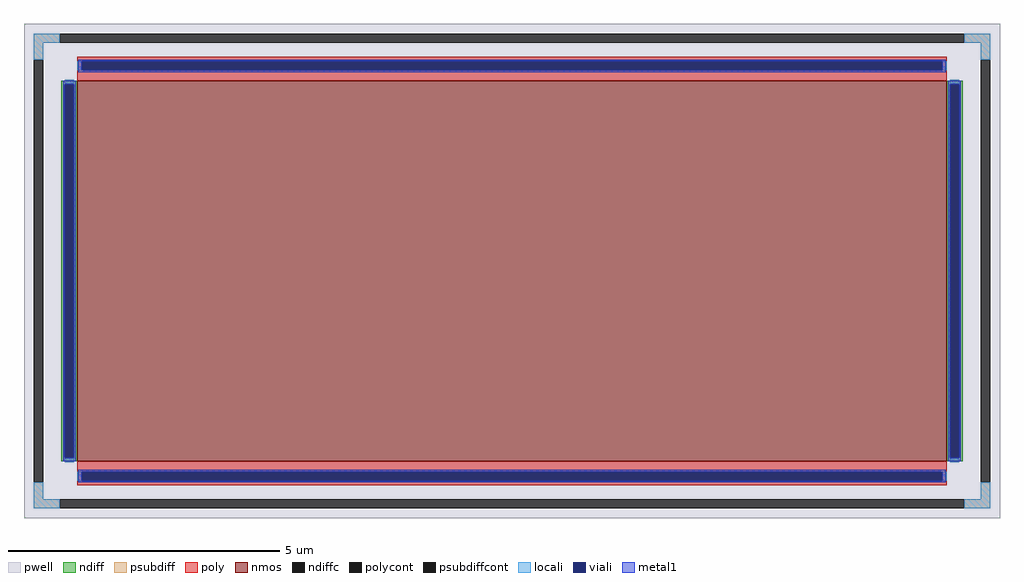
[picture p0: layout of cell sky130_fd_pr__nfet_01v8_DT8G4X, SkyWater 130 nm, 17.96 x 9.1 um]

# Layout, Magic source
magic
tech sky130A
<< pwell >>
rect -898 -455 898 455
<< nmos >>
rect -800 -350 800 350
<< ndiff >>
rect -829 344 -800 350
rect -829 -344 -823 344
rect -806 -344 -800 344
rect -829 -350 -800 -344
rect 800 344 829 350
rect 800 -344 806 344
rect 823 -344 829 344
rect 800 -350 829 -344
<< ndiffc >>
rect -823 -344 -806 344
rect 806 -344 823 344
<< psubdiff >>
rect -880 420 -832 437
rect 832 420 880 437
rect -880 389 -863 420
rect 863 389 880 420
rect -880 -420 -863 -389
rect 863 -420 880 -389
rect -880 -437 -832 -420
rect 832 -437 880 -420
<< psubdiffcont >>
rect -832 420 832 437
rect -880 -389 -863 389
rect 863 -389 880 389
rect -832 -437 832 -420
<< poly >>
rect -800 386 800 394
rect -800 369 -792 386
rect 792 369 800 386
rect -800 350 800 369
rect -800 -369 800 -350
rect -800 -386 -792 -369
rect 792 -386 800 -369
rect -800 -394 800 -386
<< polycont >>
rect -792 369 792 386
rect -792 -386 792 -369
<< locali >>
rect -880 420 -832 437
rect 832 420 880 437
rect -880 389 -863 420
rect 863 389 880 420
rect -800 369 -792 386
rect 792 369 800 386
rect -823 344 -806 352
rect -823 -352 -806 -344
rect 806 344 823 352
rect 806 -352 823 -344
rect -800 -386 -792 -369
rect 792 -386 800 -369
rect -880 -420 -863 -389
rect 863 -420 880 -389
rect -880 -437 -832 -420
rect 832 -437 880 -420
<< viali >>
rect -792 369 792 386
rect -823 -344 -806 344
rect 806 -344 823 344
rect -792 -386 792 -369
<< metal1 >>
rect -798 386 798 389
rect -798 369 -792 386
rect 792 369 798 386
rect -798 366 798 369
rect -826 344 -803 350
rect -826 -344 -823 344
rect -806 -344 -803 344
rect -826 -350 -803 -344
rect 803 344 826 350
rect 803 -344 806 344
rect 823 -344 826 344
rect 803 -350 826 -344
rect -798 -369 798 -366
rect -798 -386 -792 -369
rect 792 -386 798 -369
rect -798 -389 798 -386
<< properties >>
string FIXED_BBOX -871 -428 871 428
string gencell sky130_fd_pr__nfet_01v8
string library sky130
string parameters w 7 l 16 m 1 nf 1 diffcov 100 polycov 100 guard 1 glc 1 grc 1 gtc 1 gbc 1 tbcov 100 rlcov 100 topc 1 botc 1 poverlap 0 doverlap 1 lmin 0.15 wmin 0.42 compatible {sky130_fd_pr__nfet_01v8 sky130_fd_pr__nfet_01v8_lvt  sky130_fd_bs_flash__special_sonosfet_star  sky130_fd_pr__nfet_g5v0d10v5 sky130_fd_pr__nfet_05v0_nvt  sky130_fd_pr__nfet_03v3_nvt} full_metal 1 viasrc 100 viadrn 100 viagate 100 viagb 0 viagr 0 viagl 0 viagt 0
<< end >>
